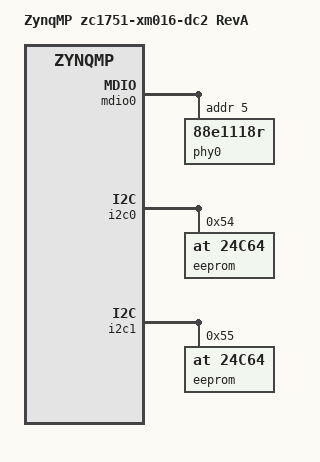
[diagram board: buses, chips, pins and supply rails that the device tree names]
/*
 * zc1751-dc2 Board
 *
 * Copyright (c) 2024, Advanced Micro Devices, Inc.
 * All rights reserved.
 *
 * SPDX-License-Identifier: GPL-2.0-or-later
 */


#include "zynqmp.dtsh"

/dts-v1/;

#include "zynqmp-arm.dtsi"
#include "zynqmp-memory-regions.dtsi"


/ {
	model = "ZynqMP zc1751-xm016-dc2 RevA";
	compatible = "xlnx,zynqmp-zc1751", "xlnx,zynqmp";

	aliases {
		ethernet0 = &gem2;
	};

	mdio0: mdio {
		#address-cells = <1>;
		#size-cells = <0>;
		compatible="mdio";
		phy0: phy@5 {
			compatible = "88e1118r";
			device_type = "ethernet-phy";
			reg = <5>;
		};
	};
};

&i2c0 {
	eeprom@54 {
		compatible = "at,24c64";
		reg = <0x54>;
		size = <0x2000>;
	};
};

&i2c1 {
	eeprom@55 {
		compatible = "at,24c64";
		reg = <0x55>;
		size = <0x2000>;
	};
};

&ps7_sd_0 {
	is-mmc = <0x1>;
};

&gem2 {
	mdio = <&mdio0>;
};

&iou_slcr_0 {
	mio-bank0-1.8v = <1>;
	mio-bank1-1.8v = <1>;
	mio-bank2-1.8v = <1>;
};
